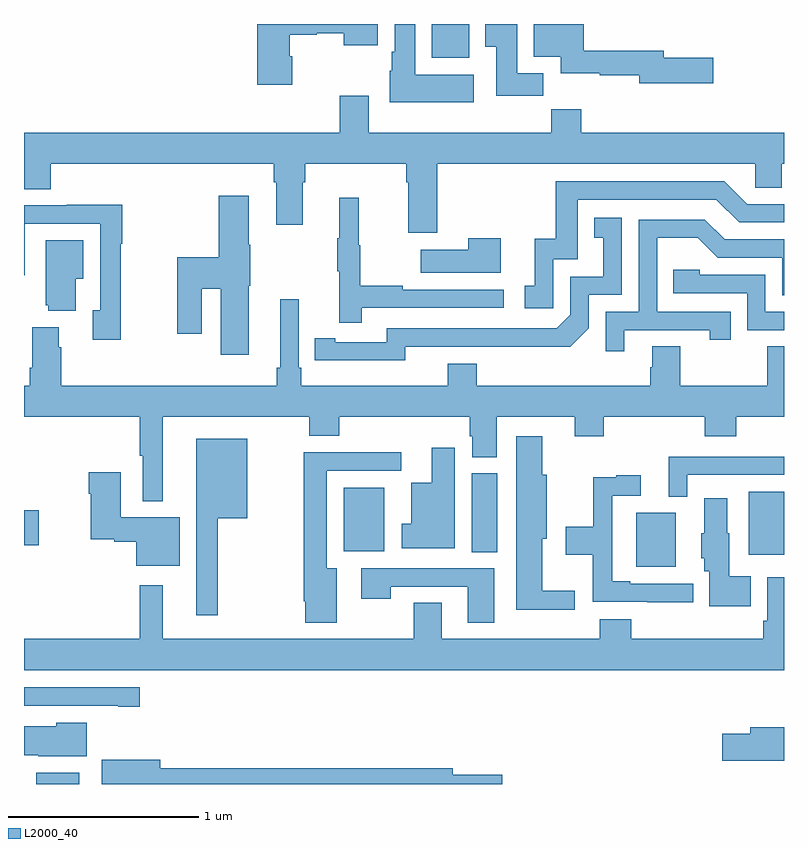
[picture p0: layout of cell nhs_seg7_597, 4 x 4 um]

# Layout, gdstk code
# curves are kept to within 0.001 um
import gdstk
lib = gdstk.Library(unit=1e-6, precision=1e-09)
def R(c, l, rs):  # rectangles x0, y0, x1, y1
    for r in rs: c.add(gdstk.rectangle(r[:2], r[2:], *l))
def P(c, l, *ps):  # polygons
    for p in ps: c.add(gdstk.Polygon(p, *l))
L2000_40 = (2000, 40)

nhs_seg7_597 = lib.new_cell('nhs_seg7_597')
R(nhs_seg7_597, L2000_40, [(157.064,1016,157.291,1016.059), (160.223,1017.143,160.429,1017.427), (160.814,1017.206,161,1017.538), (159.356,1017.22,159.49,1017.636), (158.684,1017.224,158.896,1017.559), (157,1017.257,157.078,1017.44), (159.146,1019.822,159.343,1020)])
P(nhs_seg7_597, L2000_40, [(160.627,1019.822),(160.366,1019.822),(160.366,1019.858),(159.947,1019.858),(159.947,1020),(159.683,1020),(159.683,1019.828),(159.824,1019.828),(159.824,1019.741),(160.03,1019.741),(160.03,1019.73),(160.238,1019.73),(160.238,1019.687),(160.627,1019.687)],
  [(158.411,1019.829),(158.398,1019.829),(158.398,1019.944),(158.541,1019.944),(158.541,1019.952),(158.684,1019.952),(158.684,1019.888),(158.863,1019.888),(158.863,1020),(158.228,1020),(158.228,1019.679),(158.411,1019.679)],
  [(159.367,1019.734),(159.058,1019.734),(159.058,1020),(158.951,1020),(158.951,1019.854),(158.936,1019.854),(158.936,1019.754),(158.924,1019.754),(158.924,1019.588),(159.367,1019.588)],
  [(159.734,1019.74),(159.595,1019.74),(159.595,1020),(159.428,1020),(159.428,1019.881),(159.485,1019.881),(159.485,1019.622),(159.734,1019.622)],
  [(159.176,1019.264),(160.848,1019.264),(160.848,1019.137),(160.987,1019.137),(160.987,1019.264),(161,1019.264),(161,1019.428),(159.932,1019.428),(159.932,1019.552),(159.775,1019.552),(159.775,1019.428),(158.815,1019.428),(158.815,1019.623),(158.663,1019.623),(158.663,1019.428),(157,1019.428),(157,1019.131),(157.142,1019.131),(157.142,1019.264),(158.315,1019.264),(158.315,1019.168),(158.327,1019.168),(158.327,1018.944),(158.467,1018.944),(158.467,1019.168),(158.48,1019.168),(158.48,1019.264),(159.011,1019.264),(159.011,1019.168),(159.023,1019.168),(159.023,1018.902),(159.176,1018.902)],
  [(159.786,1018.761),(159.915,1018.761),(159.915,1019.076),(160.644,1019.076),(160.764,1018.956),(161,1018.956),(161,1019.052),(160.806,1019.052),(160.686,1019.172),(159.799,1019.172),(159.799,1018.87),(159.689,1018.87),(159.689,1018.623),(159.636,1018.623),(159.636,1018.503),(159.786,1018.503)],
  [(158.182,1018.623),(158.19,1018.623),(158.19,1018.837),(158.182,1018.837),(158.182,1019.095),(158.024,1019.095),(158.024,1018.772),(157.807,1018.772),(157.807,1018.371),(157.936,1018.371),(157.936,1018.607),(158.036,1018.607),(158.036,1018.26),(158.182,1018.26)],
  [(158.777,1018.506),(159.526,1018.506),(159.526,1018.602),(158.993,1018.602),(158.993,1018.622),(158.77,1018.622),(158.77,1018.836),(158.762,1018.836),(158.762,1019.086),(158.66,1019.086),(158.66,1018.873),(158.649,1018.873),(158.649,1018.699),(158.66,1018.699),(158.66,1018.428),(158.777,1018.428)],
  [(157.51,1018.843),(157.517,1018.843),(157.517,1019.048),(157.225,1019.048),(157.225,1019.046),(157,1019.046),(157,1018.677),(157.005,1018.677),(157.005,1018.95),(157.401,1018.95),(157.401,1018.494),(157.361,1018.494),(157.361,1018.338),(157.51,1018.338)],
  [(159.006,1018.302),(159.874,1018.301),(159.972,1018.398),(159.972,1018.575),(160.146,1018.575),(160.146,1018.981),(160,1018.981),(160,1018.875),(160.049,1018.875),(160.049,1018.671),(159.876,1018.671),(159.876,1018.47),(159.804,1018.398),(158.91,1018.398),(158.91,1018.326),(158.638,1018.326),(158.638,1018.346),(158.53,1018.346),(158.53,1018.23),(159.006,1018.229)],
  [(160.159,1018.389),(160.61,1018.389),(160.61,1018.338),(160.721,1018.338),(160.721,1018.485),(160.332,1018.485),(160.332,1018.874),(160.546,1018.874),(160.65,1018.77),(160.992,1018.77),(160.992,1018.572),(161,1018.572),(161,1018.866),(160.687,1018.866),(160.582,1018.971),(160.236,1018.971),(160.236,1018.485),(160.062,1018.485),(160.062,1018.278),(160.159,1018.278)],
  [(159.508,1018.873),(159.338,1018.873),(159.338,1018.813),(159.089,1018.813),(159.089,1018.691),(159.508,1018.691)],
  [(157.273,1018.658),(157.312,1018.658),(157.312,1018.861),(157.115,1018.861),(157.115,1018.521),(157.127,1018.521),(157.127,1018.49),(157.273,1018.49)],
  [(161,1018.485),(160.902,1018.485),(160.902,1018.68),(160.557,1018.68),(160.557,1018.707),(160.417,1018.707),(160.417,1018.584),(160.806,1018.584),(160.806,1018.389),(161,1018.389)],
  [(159.23,1018.096),(158.459,1018.096),(158.459,1018.192),(158.445,1018.192),(158.445,1018.552),(158.348,1018.552),(158.348,1018.192),(158.329,1018.192),(158.329,1018.096),(157.196,1018.096),(157.196,1018.298),(157.183,1018.298),(157.183,1018.405),(157.043,1018.405),(157.043,1018.192),(157.031,1018.192),(157.031,1018.096),(157,1018.096),(157,1017.932),(157.608,1017.932),(157.608,1017.727),(157.625,1017.727),(157.625,1017.488),(157.729,1017.488),(157.729,1017.932),(158.5,1017.932),(158.5,1017.833),(158.66,1017.833),(158.66,1017.932),(159.347,1017.932),(159.347,1017.831),(159.359,1017.831),(159.359,1017.721),(159.487,1017.721),(159.487,1017.932),(159.899,1017.932),(159.899,1017.83),(160.052,1017.83),(160.052,1017.932),(160.583,1017.932),(160.583,1017.83),(160.748,1017.83),(160.748,1017.932),(161,1017.932),(161,1018.304),(160.912,1018.304),(160.912,1018.096),(160.455,1018.096),(160.455,1018.304),(160.307,1018.304),(160.307,1018.194),(160.295,1018.194),(160.295,1018.096),(159.383,1018.096),(159.383,1018.213),(159.23,1018.213)],
  [(159.898,1017.017),(159.727,1017.017),(159.727,1017.291),(159.751,1017.291),(159.751,1017.627),(159.727,1017.627),(159.727,1017.829),(159.59,1017.829),(159.59,1016.918),(159.898,1016.918)],
  [(158.021,1017.398),(158.176,1017.398),(158.176,1017.817),(157.907,1017.817),(157.907,1016.889),(158.021,1016.889)],
  [(159.268,1017.769),(159.146,1017.769),(159.146,1017.586),(159.038,1017.586),(159.038,1017.37),(158.987,1017.37),(158.987,1017.242),(159.268,1017.242)],
  [(158.647,1017.136),(158.593,1017.136),(158.593,1017.648),(158.986,1017.648),(158.986,1017.746),(158.473,1017.746),(158.473,1016.962),(158.48,1016.962),(158.48,1016.85),(158.647,1016.85)],
  [(160.491,1017.627),(161,1017.627),(161,1017.723),(160.394,1017.723),(160.394,1017.512),(160.491,1017.512)],
  [(157.819,1017.403),(157.51,1017.403),(157.51,1017.64),(157.34,1017.64),(157.34,1017.527),(157.352,1017.527),(157.352,1017.287),(157.476,1017.287),(157.476,1017.275),(157.592,1017.275),(157.592,1017.149),(157.819,1017.149)],
  [(160.522,1017.054),(160.192,1017.054),(160.192,1017.067),(160.095,1017.067),(160.095,1017.516),(160.246,1017.516),(160.246,1017.625),(160.118,1017.625),(160.118,1017.614),(159.997,1017.614),(159.997,1017.354),(159.852,1017.354),(159.852,1017.206),(159.994,1017.206),(159.994,1016.958),(160.279,1016.958),(160.279,1016.957),(160.522,1016.957)],
  [(160.826,1017.094),(160.711,1017.094),(160.711,1017.321),(160.702,1017.321),(160.702,1017.505),(160.58,1017.505),(160.58,1017.321),(160.565,1017.321),(160.565,1017.189),(160.58,1017.189),(160.58,1017.12),(160.607,1017.12),(160.607,1016.936),(160.826,1016.936)],
  [(159.475,1017.135),(158.775,1017.135),(158.775,1016.976),(158.931,1016.976),(158.931,1017.039),(159.335,1017.039),(159.335,1016.85),(159.475,1016.85)],
  [(161,1017.088),(160.911,1017.088),(160.911,1016.86),(160.891,1016.86),(160.891,1016.764),(160.196,1016.764),(160.196,1016.866),(160.031,1016.866),(160.031,1016.764),(159.199,1016.764),(159.199,1016.954),(159.052,1016.954),(159.052,1016.764),(157.729,1016.764),(157.729,1017.046),(157.608,1017.046),(157.608,1016.764),(157,1016.764),(157,1016.6),(161,1016.6)],
  [(157.609,1016.508),(157,1016.508),(157,1016.412),(157.496,1016.412),(157.496,1016.407),(157.609,1016.407)],
  [(157.33,1016.323),(157.17,1016.323),(157.17,1016.305),(157,1016.305),(157,1016.151),(157.075,1016.151),(157.075,1016.147),(157.33,1016.147)],
  [(161,1016.299),(160.823,1016.299),(160.823,1016.265),(160.674,1016.265),(160.674,1016.123),(161,1016.123)],
  [(159.517,1016.048),(159.256,1016.048),(159.256,1016.084),(157.717,1016.084),(157.717,1016.128),(157.41,1016.128),(157.41,1016),(159.517,1016)])

lib.write_gds('nhs_seg7_597.gds')
